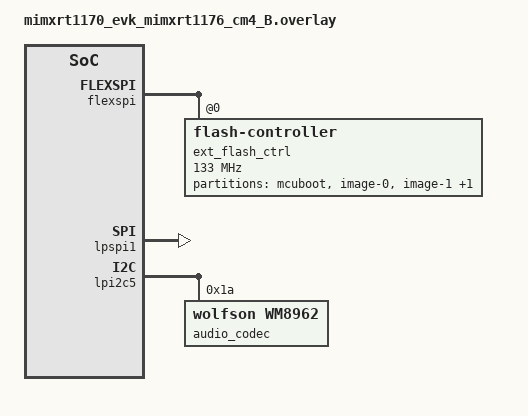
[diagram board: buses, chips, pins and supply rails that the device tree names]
/*
 * Copyright 2023 NXP
 *
 * SPDX-License-Identifier: Apache-2.0
 */

/ {
	chosen {
		/delete-property/ zephyr,flash-controller;
		/delete-property/ zephyr,code-partition;
	};

	aliases {
		/delete-property/ magn0;
		/delete-property/ accel0;
		i2s-codec-tx = &sai1;
	};
};

&flexspi {
	/* RT1170 EVKB uses a different QSPI flash chip */
	status = "okay";
	reg = <0x400cc000 0x4000>, <0x30000000 DT_SIZE_M(64)>;

	ext_flash_ctrl: flash-controller@0 {
		size = <DT_SIZE_M(64*8)>;
		spi-max-frequency = <DT_FREQ_M(133)>;
		status = "okay";
		jedec-id = [ef 60 20];
		ranges = <0x0 0x30000000 DT_SIZE_M(64)>;

		/delete-node/ flash@0;

		w25q512nw: flash@0 {
			compatible = "soc-nv-flash";
			reg = <0x0 DT_SIZE_M(64)>;
			erase-block-size = <DT_SIZE_K(4)>;
			write-block-size = <1>;

			partitions {
				compatible = "fixed-partitions";
				#address-cells = <1>;
				#size-cells = <1>;

				/*
				 * Partition sizes must be aligned
				 * to the flash memory sector size of 4KB.
				 */
				boot_partition: partition@0 {
					label = "mcuboot";
					reg = <0x00000000 DT_SIZE_K(128)>;
				};

				slot0_partition: partition@20000 {
					label = "image-0";
					reg = <0x00020000 DT_SIZE_M(7)>;
				};

				slot1_partition: partition@720000 {
					label = "image-1";
					reg = <0x00720000 DT_SIZE_M(7)>;
				};

				storage_partition: partition@e20000 {
					label = "storage";
					reg = <0x00e20000 (DT_SIZE_M(50) - DT_SIZE_K(128))>;
				};
			};
		};
	};
};

&lpspi1 {
	dmas = <&edma_lpsr0 0 36>, <&edma_lpsr0 1 37>;
	dma-names = "rx", "tx";
	status = "okay";
};

&lpi2c5 {
	/* FXOS accelerometer is not present in this board */
	/delete-node/ fxos8700@1f;

	audio_codec: wm8962@1a {
		compatible = "wolfson,wm8962";
		reg = <0x1a>;
		clock-source = "MCLK";
		clocks = <&ccm IMX_CCM_SAI1_CLK 0x2004 4>;
		clock-names = "mclk";
	};
};

/* Disable ethernet, as PHY is not supported */
&enet {
	status = "disabled";
};
